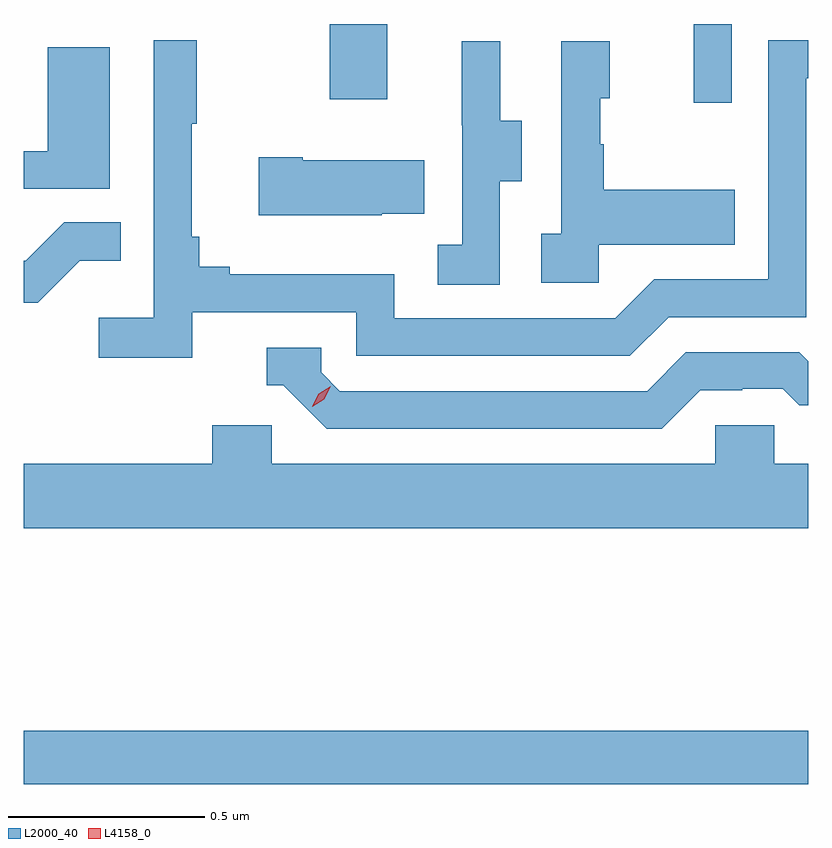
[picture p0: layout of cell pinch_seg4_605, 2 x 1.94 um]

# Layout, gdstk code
import gdstk
lib = gdstk.Library(unit=1e-6, precision=1e-09)
def R(c, l, rs):  # rectangles x0, y0, x1, y1
    for r in rs: c.add(gdstk.rectangle(r[:2], r[2:], *l))
def P(c, l, *ps):  # polygons
    for p in ps: c.add(gdstk.Polygon(p, *l))
L2000_40 = (2000, 40)
L4158_0 = (4158, 0)

pinch_seg4_605 = lib.new_cell('pinch_seg4_605')
R(pinch_seg4_605, L2000_40, [(1065.7,780.184,1067.7,780.32), (1067.408,781.92,1067.505,782.121), (1066.48,781.929,1066.627,782.121)])
P(pinch_seg4_605, L2000_40, [(1066.13,781.386),(1066.548,781.386),(1066.548,781.275),(1067.245,781.275),(1067.344,781.374),(1067.694,781.374),(1067.694,781.983),(1067.7,781.983),(1067.7,782.079),(1067.598,782.079),(1067.598,781.47),(1067.307,781.47),(1067.208,781.371),(1066.644,781.371),(1066.644,781.483),(1066.225,781.483),(1066.225,781.502),(1066.148,781.502),(1066.148,781.579),(1066.129,781.579),(1066.129,781.867),(1066.141,781.867),(1066.141,782.08),(1066.032,782.08),(1066.032,781.372),(1065.891,781.372),(1065.891,781.27),(1066.13,781.27)],
  [(1067.166,781.559),(1067.513,781.559),(1067.513,781.699),(1067.179,781.699),(1067.179,781.814),(1067.169,781.814),(1067.169,781.932),(1067.194,781.932),(1067.194,782.077),(1067.07,782.077),(1067.07,781.586),(1067.019,781.586),(1067.019,781.461),(1067.166,781.461)],
  [(1066.914,781.72),(1066.969,781.72),(1066.969,781.875),(1066.915,781.875),(1066.915,782.077),(1066.817,782.077),(1066.817,781.863),(1066.818,781.863),(1066.818,781.559),(1066.755,781.559),(1066.755,781.456),(1066.914,781.456)],
  [(1065.919,782.062),(1065.761,782.062),(1065.761,781.797),(1065.7,781.797),(1065.7,781.701),(1065.919,781.701)],
  [(1066.613,781.637),(1066.721,781.637),(1066.721,781.774),(1066.411,781.774),(1066.411,781.782),(1066.299,781.782),(1066.299,781.634),(1066.613,781.634)],
  [(1065.843,781.517),(1065.947,781.517),(1065.947,781.616),(1065.803,781.616),(1065.705,781.518),(1065.7,781.518),(1065.7,781.41),(1065.736,781.41)],
  [(1067.425,781.188),(1067.532,781.188),(1067.532,781.191),(1067.635,781.191),(1067.677,781.149),(1067.7,781.149),(1067.7,781.261),(1067.677,781.284),(1067.388,781.284),(1067.289,781.185),(1066.506,781.185),(1066.458,781.233),(1066.458,781.296),(1066.319,781.296),(1066.319,781.2),(1066.362,781.2),(1066.473,781.089),(1067.326,781.089)],
  [(1067.7,781),(1067.613,781),(1067.613,781.098),(1067.463,781.098),(1067.463,781),(1066.332,781),(1066.332,781.098),(1066.181,781.098),(1066.181,781),(1065.7,781),(1065.7,780.836),(1067.7,780.836)])
P(pinch_seg4_605, L4158_0, [(1066.435,781.146),(1066.435,781.147),(1066.452,781.179),(1066.483,781.198),(1066.483,781.198),(1066.483,781.198),(1066.466,781.165),(1066.436,781.146)])

lib.write_gds('pinch_seg4_605.gds')
